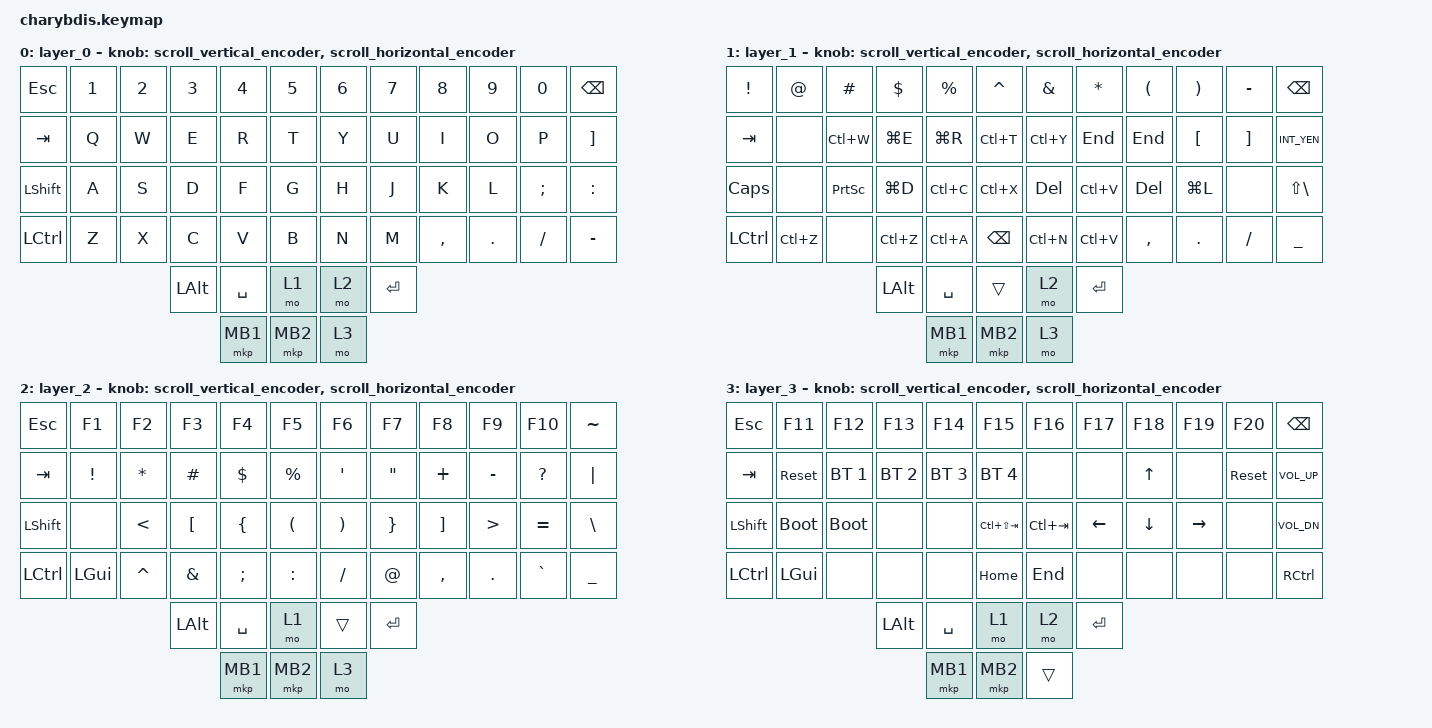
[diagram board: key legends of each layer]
#define ZMK_POINTING_DEFAULT_MOVE_VAL 1000
#define ZMK_POINTING_DEFAULT_SCRL_VAL 12
#include <behaviors.dtsi>
#include <dt-bindings/zmk/bt.h>
#include <dt-bindings/zmk/keys.h>
#include <dt-bindings/zmk/rgb.h>
#include <dt-bindings/zmk/outputs.h>
#include <dt-bindings/zmk/pointing.h>
#include <dt-bindings/zmk/mouse.h>
#include <input/processors.dtsi>
#include <zephyr/dt-bindings/input/input-event-codes.h>


/* 速度倍率（例）:
 * いま 2/1 (=2倍) になっているなら、
 * 1.1倍にしたい場合は 11/10 にできます（小数は使わず分数で調整）
 * 例: <&zip_xy_scaler 11 10>
 */
&mmv_input_listener { input-processors = <&zip_xy_scaler 50 10>; };
&msc_input_listener { input-processors = <&zip_scroll_scaler 35 10>; };

&msc {
    acceleration-exponent = <0>;
    time-to-max-speed-ms = <100>;
    delay-ms = <0>;
};

&mmv {
    time-to-max-speed-ms = <300>;
    acceleration-exponent = <1>;
    trigger-period-ms = <16>;
};

/ {
    /* Encoder behaviors */
    scroll_vertical_encoder: scroll_vertical_encoder {
        compatible = "zmk,behavior-sensor-rotate";
        #sensor-binding-cells = <0>;
        bindings = <&msc SCRL_DOWN>, <&msc SCRL_UP>;
        tap-ms = <100>;
    };

    scroll_horizontal_encoder: scroll_horizontal_encoder {
        compatible = "zmk,behavior-sensor-rotate";
        #sensor-binding-cells = <0>;
        bindings = <&msc SCRL_LEFT>, <&msc SCRL_RIGHT>;
        tap-ms = <100>;
    };

    behaviors {
    };

    keymap {
        compatible = "zmk,keymap";

        /* =========================
         * layer0 (Base)
         * ========================= */
        layer_0 {
            bindings = <
                &kp ESC         &kp N1   &kp N2   &kp N3   &kp N4   &kp N5      &kp N6   &kp N7   &kp N8   &kp N9   &kp N0     &kp BACKSPACE
                &kp TAB         &kp Q    &kp W    &kp E    &kp R    &kp T       &kp Y    &kp U    &kp I    &kp O    &kp P      &kp RBKT
                &kp LSHIFT      &kp A    &kp S    &kp D    &kp F    &kp G       &kp H    &kp J    &kp K    &kp L    &kp SEMI   &kp COLON
                &kp LCTRL       &kp Z    &kp X    &kp C    &kp V    &kp B       &kp N    &kp M    &kp COMMA &kp DOT  &kp FSLH   &kp MINUS

                                              &kp LALT   &kp SPACE  &mo 1      &mo 2     &kp ENTER
                                                        &mkp MB1   &mkp MB2   &mo 3
            >;

            sensor-bindings =
                <&scroll_vertical_encoder>,
                <&scroll_horizontal_encoder>;
        };

        /* =========================
         * layer1
         * （表のとおり：home / win+r / win+d / ctrl+c / ctrl+v / BS など）
         * ※ PrintScreen は PSCRN
         * ========================= */
        layer_1 {
            bindings = <
                &kp EXCL        &kp AT     &kp HASH   &kp DLLR    &kp PRCNT  &kp CARET          &kp AMPS  &kp ASTERISK &kp LPAR   &kp RPAR   &kp MINUS  &kp BACKSPACE

                &kp TAB         &none      &kp LC(W)  &kp LG(E)   &kp LG(R)  &kp LC(T)          &kp LC(Y)  &kp END      &kp END    &kp LBKT   &kp RBKT   &kp INT_YEN
                &kp CAPS        &none      &kp PSCRN  &kp LG(D)   &kp LC(C)  &kp LC(X)          &kp DEL    &kp LC(V)    &kp DEL    &kp LG(L)  &none      &kp LS(BSLH)
                &kp LCTRL       &kp LC(Z)  &none      &kp LC(Z)   &kp LC(A)  &kp BACKSPACE      &kp LC(N)  &kp LC(V)    &kp COMMA  &kp DOT    &kp FSLH   &kp UNDERSCORE

                                              &kp LALT   &kp SPACE  &trans                      &mo 2     &kp ENTER
                                                         &mkp MB1   &mkp MB2                    &mo 3
            >;

            sensor-bindings =
                <&scroll_vertical_encoder>,
                <&scroll_horizontal_encoder>;
        };

        /* =========================
         * layer2 (US記号 + Fキー / nav)
         * ========================= */
        layer_2 {
            bindings = <
                &kp ESC         &kp F1    &kp F2        &kp F3        &kp F4     &kp F5             &kp F6      &kp F7      &kp F8        &kp F9      &kp F10       &kp TILDE
                &kp TAB         &kp EXCL  &kp STAR      &kp HASH      &kp DLLR   &kp PRCNT          &kp SQT     &kp DQT     &kp PLUS      &kp MINUS   &kp QMARK     &kp PIPE
                &kp LSHIFT      &none     &kp LT        &kp LBKT      &kp LBRC   &kp LPAR           &kp RPAR    &kp RBRC    &kp RBKT      &kp GT      &kp EQUAL     &kp BACKSLASH
                &kp LCTRL       &kp LGUI  &kp CARET     &kp AMPS      &kp SEMI   &kp COLON          &kp FSLH    &kp AT      &kp COMMA     &kp DOT     &kp GRAVE     &kp UNDERSCORE

                                                      &kp LALT   &kp SPACE  &mo 1                     &trans    &kp ENTER
                                                                 &mkp MB1   &mkp MB2                  &mo 3
            >;

            sensor-bindings =
                <&scroll_vertical_encoder>,
                <&scroll_horizontal_encoder>;
        };

        /* =========================
         * layer3 (M1..M10 + arrows + volume)
         * ========================= */
        layer_3 {
            bindings = <
                &kp ESC         &kp F11         &kp F12           &kp F13         &kp F14          &kp F15          &kp F16        &kp F17  &kp F18    &kp F19    &kp F20         &kp BACKSPACE
                &kp TAB         &sys_reset      &bt BT_SEL 1      &bt BT_SEL 2    &bt BT_SEL 3     &bt BT_SEL 4     &none          &none    &kp UP     &none      &sys_reset      &kp C_VOL_UP
                &kp LSHIFT      &bootloader     &bootloader       &none           &none            &kp LC(LS(TAB))  &kp LC(TAB)    &kp LEFT &kp DOWN   &kp RIGHT  &none           &kp C_VOL_DN
                &kp LCTRL       &kp LGUI        &none             &none           &none            &kp HOME         &kp END        &none    &none      &none      &none           &kp RCTRL

                                              &kp LALT   &kp SPACE  &mo 1      &mo 2     &kp ENTER
                                                        &mkp MB1   &mkp MB2   &trans
            >;

            sensor-bindings =
                <&scroll_vertical_encoder>,
                <&scroll_horizontal_encoder>;
        };
    };
};
